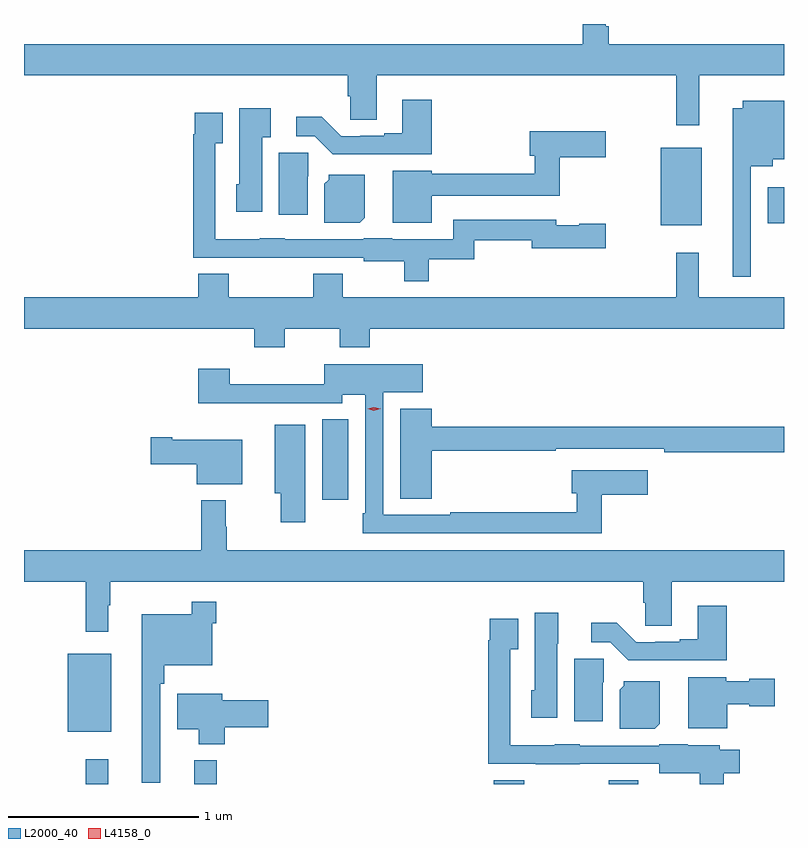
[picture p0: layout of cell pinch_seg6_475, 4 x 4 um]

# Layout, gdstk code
import gdstk
lib = gdstk.Library(unit=1e-6, precision=1e-09)
def R(c, l, rs):  # rectangles x0, y0, x1, y1
    for r in rs: c.add(gdstk.rectangle(r[:2], r[2:], *l))
def P(c, l, *ps):  # polygons
    for p in ps: c.add(gdstk.Polygon(p, *l))
L2000_40 = (2000, 40)
L4158_0 = (4158, 0)

pinch_seg6_475 = lib.new_cell('pinch_seg6_475')
R(pinch_seg6_475, L2000_40, [(831.217,936.947,831.335,937.078), (831.788,936.947,831.905,937.072), (833.363,936.947,833.523,936.968), (833.968,936.947,834.123,936.968), (831.122,937.223,831.349,937.633), (832.46,938.442,832.597,938.867), (834.242,939.887,834.457,940.297), (834.806,939.899,834.891,940.087)])
P(pinch_seg6_475, L2000_40, [(833.952,940.936),(833.952,940.947),(833.833,940.947),(833.833,940.84),(830.891,940.84),(830.891,940.676),(832.595,940.676),(832.595,940.566),(832.608,940.566),(832.608,940.444),(832.747,940.444),(832.747,940.676),(834.325,940.676),(834.325,940.413),(834.444,940.413),(834.444,940.676),(834.891,940.676),(834.891,940.84),(833.969,940.84),(833.969,940.936)],
  [(833.036,940.549),(832.883,940.549),(832.883,940.372),(832.787,940.372),(832.787,940.359),(832.66,940.359),(832.66,940.356),(832.56,940.356),(832.458,940.459),(832.323,940.459),(832.323,940.356),(832.422,940.356),(832.516,940.262),(833.036,940.262)],
  [(834.717,940.199),(834.832,940.199),(834.832,940.235),(834.891,940.235),(834.891,940.543),(834.674,940.543),(834.674,940.504),(834.62,940.504),(834.62,939.618),(834.717,939.618)],
  [(832.144,940.35),(832.189,940.35),(832.189,940.504),(832.025,940.504),(832.025,940.104),(832.007,940.104),(832.007,939.96),(832.144,939.96)],
  [(833.021,939.71),(833.26,939.71),(833.26,939.81),(833.564,939.81),(833.564,939.767),(833.953,939.767),(833.953,939.897),(833.814,939.897),(833.814,939.889),(833.692,939.889),(833.692,939.918),(833.151,939.918),(833.151,939.814),(832.83,939.814),(832.83,939.82),(832.68,939.82),(832.68,939.813),(832.263,939.813),(832.263,939.82),(832.131,939.82),(832.131,939.814),(831.897,939.814),(831.897,940.319),(831.937,940.319),(831.937,940.48),(831.789,940.48),(831.789,940.367),(831.781,940.367),(831.781,939.717),(832.031,939.717),(832.031,939.716),(832.263,939.716),(832.263,939.717),(832.68,939.717),(832.68,939.698),(832.893,939.698),(832.893,939.593),(833.021,939.593)],
  [(833.038,940.044),(833.711,940.044),(833.711,940.246),(833.953,940.246),(833.953,940.383),(833.552,940.383),(833.552,940.253),(833.579,940.253),(833.579,940.16),(833.038,940.16),(833.038,940.174),(832.832,940.174),(832.832,939.902),(833.038,939.902)],
  [(832.384,940.146),(832.388,940.146),(832.388,940.269),(832.232,940.269),(832.232,939.942),(832.384,939.942)],
  [(832.684,939.928),(832.684,940.153),(832.494,940.153),(832.494,940.128),(832.472,940.106),(832.472,939.902),(832.658,939.902)],
  [(832.263,939.344),(832.552,939.344),(832.552,939.245),(832.712,939.245),(832.712,939.344),(834.891,939.344),(834.891,939.508),(834.443,939.508),(834.443,939.742),(834.325,939.742),(834.325,939.508),(832.569,939.508),(832.569,939.632),(832.414,939.632),(832.414,939.508),(831.969,939.508),(831.969,939.632),(831.809,939.632),(831.809,939.508),(830.891,939.508),(830.891,939.344),(832.103,939.344),(832.103,939.245),(832.263,939.245)],
  [(833.933,938.47),(834.175,938.47),(834.175,938.599),(833.774,938.599),(833.774,938.477),(833.801,938.477),(833.801,938.377),(833.134,938.377),(833.134,938.364),(832.782,938.364),(832.782,939.008),(832.99,939.008),(832.99,939.157),(832.47,939.157),(832.47,939.05),(831.974,939.05),(831.974,939.133),(831.809,939.133),(831.809,938.951),(832.057,938.951),(832.057,938.952),(832.566,938.952),(832.566,938.996),(832.686,938.996),(832.686,938.371),(832.674,938.371),(832.674,938.268),(833.933,938.268)],
  [(833.038,938.7),(833.69,938.7),(833.69,938.712),(834.262,938.712),(834.262,938.692),(834.891,938.692),(834.891,938.828),(833.038,938.828),(833.038,938.923),(832.871,938.923),(832.871,938.449),(833.038,938.449)],
  [(832.372,938.839),(832.211,938.839),(832.211,938.477),(832.243,938.477),(832.243,938.325),(832.372,938.325)],
  [(832.039,938.758),(831.67,938.758),(831.67,938.771),(831.558,938.771),(831.558,938.629),(831.8,938.629),(831.8,938.525),(832.039,938.525)],
  [(831.823,938.44),(831.823,938.176),(830.891,938.176),(830.891,938.012),(831.217,938.012),(831.217,937.749),(831.334,937.749),(831.334,937.889),(831.346,937.889),(831.346,938.012),(834.149,938.012),(834.149,937.902),(834.162,937.902),(834.162,937.78),(834.301,937.78),(834.301,938.012),(834.891,938.012),(834.891,938.176),(831.959,938.176),(831.959,938.3),(831.952,938.3),(831.952,938.44)],
  [(831.609,937.475),(831.629,937.475),(831.629,937.571),(831.882,937.571),(831.882,937.793),(831.902,937.793),(831.902,937.906),(831.774,937.906),(831.774,937.84),(831.512,937.84),(831.512,936.954),(831.609,936.954)],
  [(834.59,937.885),(834.437,937.885),(834.437,937.708),(834.341,937.708),(834.341,937.695),(834.214,937.695),(834.214,937.692),(834.114,937.692),(834.012,937.795),(833.877,937.795),(833.877,937.692),(833.976,937.692),(834.07,937.598),(834.59,937.598)],
  [(833.698,937.686),(833.704,937.686),(833.704,937.849),(833.579,937.849),(833.579,937.44),(833.561,937.44),(833.561,937.296),(833.698,937.296)],
  [(834.575,937.004),(834.658,937.004),(834.658,937.126),(834.552,937.126),(834.552,937.15),(834.384,937.15),(834.384,937.156),(834.234,937.156),(834.234,937.149),(833.817,937.149),(833.817,937.156),(833.685,937.156),(833.685,937.15),(833.451,937.15),(833.451,937.655),(833.491,937.655),(833.491,937.816),(833.343,937.816),(833.343,937.703),(833.335,937.703),(833.335,937.053),(833.585,937.053),(833.585,937.052),(833.817,937.052),(833.817,937.053),(834.234,937.053),(834.234,937.004),(834.447,937.004),(834.447,936.947),(834.575,936.947)],
  [(833.938,937.482),(833.942,937.482),(833.942,937.605),(833.786,937.605),(833.786,937.278),(833.938,937.278)],
  [(834.592,937.367),(834.708,937.367),(834.708,937.355),(834.841,937.355),(834.841,937.502),(834.708,937.502),(834.708,937.489),(834.588,937.489),(834.588,937.51),(834.386,937.51),(834.386,937.241),(834.592,937.241)],
  [(834.238,937.264),(834.238,937.489),(834.048,937.489),(834.048,937.464),(834.026,937.442),(834.026,937.238),(834.212,937.238)],
  [(831.947,937.246),(832.177,937.246),(832.177,937.388),(831.934,937.388),(831.934,937.423),(831.698,937.423),(831.698,937.235),(831.812,937.235),(831.812,937.157),(831.947,937.157)])
P(pinch_seg6_475, L4158_0, [(832.733,938.911),(832.699,938.921),(832.698,938.921),(832.699,938.921),(832.733,938.931),(832.768,938.921),(832.768,938.921),(832.768,938.921)])

lib.write_gds('pinch_seg6_475.gds')
